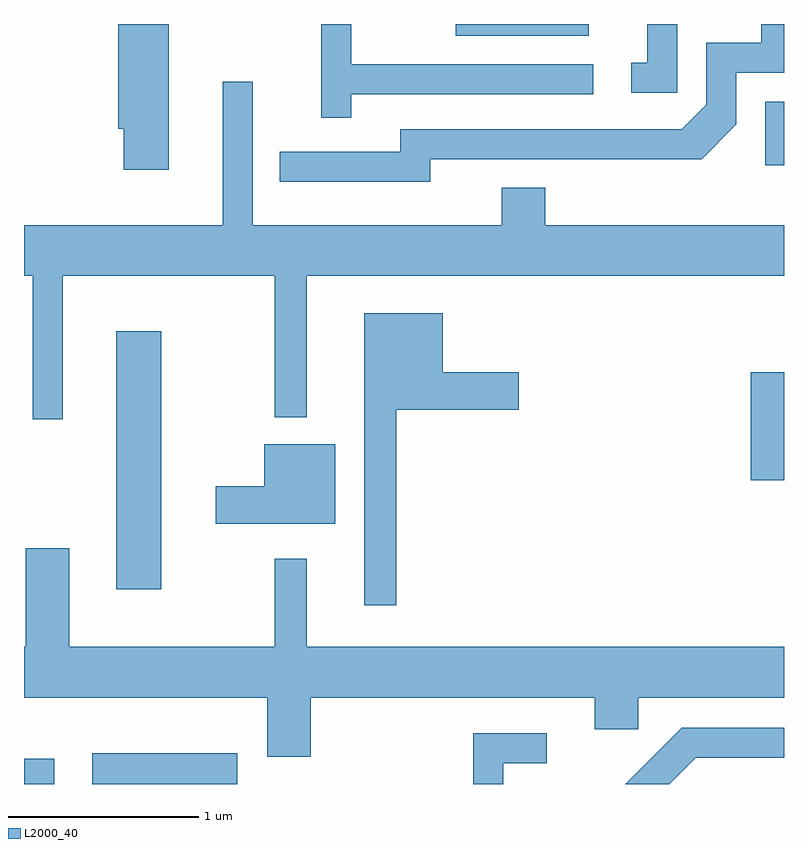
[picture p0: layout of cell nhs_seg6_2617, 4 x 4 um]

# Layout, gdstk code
import gdstk
lib = gdstk.Library(unit=1e-6, precision=1e-09)
def R(c, l, rs):  # rectangles x0, y0, x1, y1
    for r in rs: c.add(gdstk.rectangle(r[:2], r[2:], *l))
def P(c, l, *ps):  # polygons
    for p in ps: c.add(gdstk.Polygon(p, *l))
L2000_40 = (2000, 40)

nhs_seg6_2617 = lib.new_cell('nhs_seg6_2617')
R(nhs_seg6_2617, L2000_40, [(263.611,1636.162,263.769,1636.294), (263.971,1636.162,264.734,1636.324), (264.096,1637.186,264.334,1638.544), (267.436,1637.761,267.611,1638.329), (267.511,1639.418,267.611,1639.754), (265.883,1640.101,266.584,1640.162)])
P(nhs_seg6_2617, L2000_40, [(267.049,1640.162),(266.891,1640.162),(266.891,1639.959),(266.808,1639.959),(266.808,1639.801),(267.049,1639.801)],
  [(264.374,1640.162),(264.106,1640.162),(264.106,1639.611),(264.136,1639.611),(264.136,1639.396),(264.374,1639.396)],
  [(265.334,1639.791),(266.608,1639.791),(266.608,1639.949),(265.334,1639.949),(265.334,1640.162),(265.176,1640.162),(265.176,1639.668),(265.334,1639.668)],
  [(265.749,1639.451),(267.177,1639.451),(267.359,1639.634),(267.359,1639.906),(267.611,1639.906),(267.611,1640.162),(267.491,1640.162),(267.491,1640.064),(267.201,1640.064),(267.201,1639.737),(267.074,1639.609),(265.591,1639.609),(265.591,1639.489),(264.958,1639.489),(264.958,1639.331),(265.749,1639.331)],
  [(263.611,1638.836),(263.656,1638.836),(263.656,1638.083),(263.814,1638.083),(263.814,1638.836),(264.931,1638.836),(264.931,1638.093),(265.099,1638.093),(265.099,1638.836),(267.611,1638.836),(267.611,1639.104),(266.354,1639.104),(266.354,1639.299),(266.126,1639.299),(266.126,1639.104),(264.814,1639.104),(264.814,1639.858),(264.656,1639.858),(264.656,1639.104),(263.611,1639.104)],
  [(265.569,1638.131),(266.214,1638.131),(266.214,1638.329),(265.814,1638.329),(265.814,1638.639),(265.401,1638.639),(265.401,1637.103),(265.569,1637.103)],
  [(265.249,1637.949),(264.876,1637.949),(264.876,1637.729),(264.621,1637.729),(264.621,1637.531),(265.249,1637.531)],
  [(265.119,1636.616),(266.616,1636.616),(266.616,1636.451),(266.844,1636.451),(266.844,1636.616),(267.611,1636.616),(267.611,1636.884),(265.099,1636.884),(265.099,1637.348),(264.931,1637.348),(264.931,1636.884),(263.849,1636.884),(263.849,1637.404),(263.621,1637.404),(263.621,1636.884),(263.611,1636.884),(263.611,1636.616),(264.891,1636.616),(264.891,1636.306),(265.119,1636.306)],
  [(267.147,1636.301),(267.611,1636.301),(267.611,1636.459),(267.074,1636.459),(266.776,1636.162),(267.007,1636.162)],
  [(266.134,1636.271),(266.363,1636.271),(266.363,1636.429),(265.976,1636.429),(265.976,1636.162),(266.134,1636.162)])

lib.write_gds('nhs_seg6_2617.gds')
